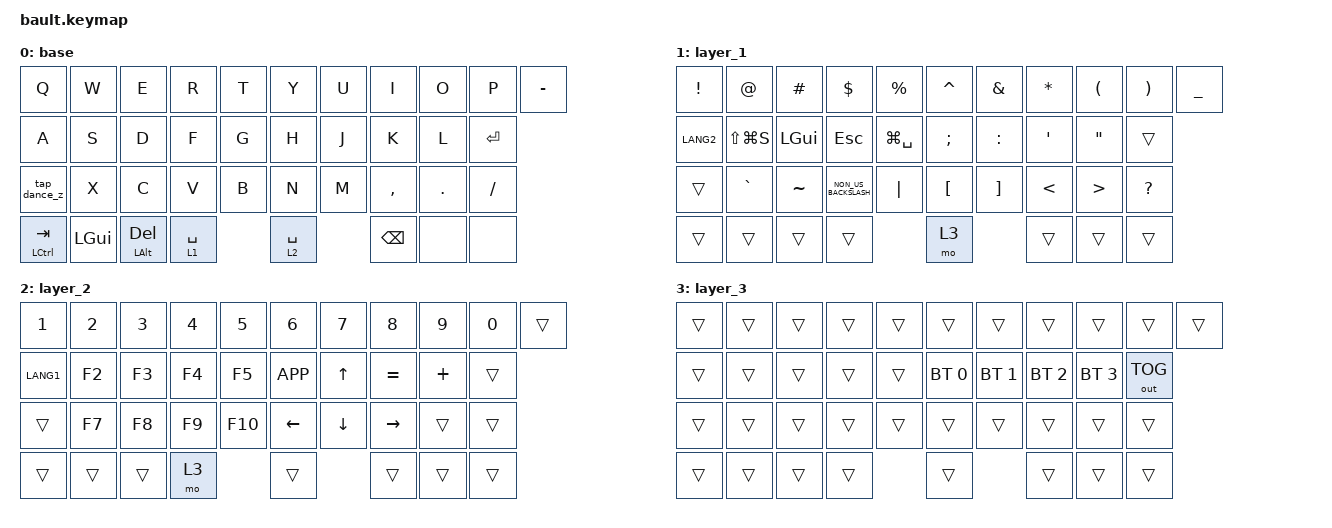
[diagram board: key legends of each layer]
#include <behaviors.dtsi>
#include <dt-bindings/zmk/bt.h>
#include <dt-bindings/zmk/keys.h>
#include <dt-bindings/zmk/outputs.h>

/ {
    behaviors {
        hm: homerow_mods {
            compatible = "zmk,behavior-hold-tap";
            display-name = "Homerow Mods";
            bindings = <&kp>, <&kp>;

            #binding-cells = <2>;
            tapping-term-ms = <200>;
            quick-tap-ms = <180>;
            require-prior-idle-ms = <0>;
            flavor = "tap-preferred";
        };

        tap_dance_z: tap_dance_z {
            compatible = "zmk,behavior-tap-dance";
            label = "TAP_DANCE_Z";
            #binding-cells = <0>;
            bindings = <&mt LEFT_SHIFT Z>, <&kp LS(Z)>;

            tapping-term-ms = <120>;
        };
    };

    keymap {
        compatible = "zmk,keymap";

        base {
            bindings = <
&kp Q          &kp W         &kp E             &kp R        &kp T  &kp Y        &kp U  &kp I          &kp O       &kp P      &kp MINUS
&kp A          &kp S         &kp D             &kp F        &kp G  &kp H        &kp J  &kp K          &kp L       &kp ENTER
&tap_dance_z   &kp X         &kp C             &kp V        &kp B  &kp N        &kp M  &kp COMMA      &kp PERIOD  &kp SLASH
&mt LCTRL TAB  &kp LEFT_GUI  &mt LEFT_ALT DEL  &lt 1 SPACE         &lt 2 SPACE         &kp BACKSPACE  &none       &none
            >;
        };

        layer_1 {
            bindings = <
&kp EXCLAMATION  &kp AT_SIGN    &kp HASH      &kp DOLLAR            &kp PERCENT    &kp CARET         &kp AMPERSAND      &kp ASTERISK   &kp LPAR           &kp RPAR      &kp UNDER
&kp LANG2        &kp LS(LG(S))  &kp LEFT_GUI  &kp ESC               &kp LG(SPACE)  &kp SEMICOLON     &kp COLON          &kp SQT        &kp DOUBLE_QUOTES  &trans
&trans           &kp GRAVE      &kp TILDE     &kp NON_US_BACKSLASH  &kp PIPE       &kp LEFT_BRACKET  &kp RIGHT_BRACKET  &kp LESS_THAN  &kp GREATER_THAN   &kp QUESTION
&trans           &trans         &trans        &trans                               &mo 3                                &trans         &trans             &trans
            >;
        };

        layer_2 {
            bindings = <
&kp N1     &kp N2  &kp N3  &kp N4  &kp N5   &kp N6          &kp N7          &kp N8           &kp N9    &kp N0  &trans
&kp LANG1  &kp F2  &kp F3  &kp F4  &kp F5   &kp K_APP       &kp UP_ARROW    &kp EQUAL        &kp PLUS  &trans
&trans     &kp F7  &kp F8  &kp F9  &kp F10  &kp LEFT_ARROW  &kp DOWN_ARROW  &kp RIGHT_ARROW  &trans    &trans
&trans     &trans  &trans  &mo 3            &trans                          &trans           &trans    &trans
            >;
        };

        layer_3 {
            bindings = <
&trans  &trans  &trans  &trans  &trans  &trans        &trans        &trans        &trans        &trans        &trans
&trans  &trans  &trans  &trans  &trans  &bt BT_SEL 0  &bt BT_SEL 1  &bt BT_SEL 2  &bt BT_SEL 3  &out OUT_TOG
&trans  &trans  &trans  &trans  &trans  &trans        &trans        &trans        &trans        &trans
&trans  &trans  &trans  &trans          &trans                      &trans        &trans        &trans
            >;
        };
    };
};
